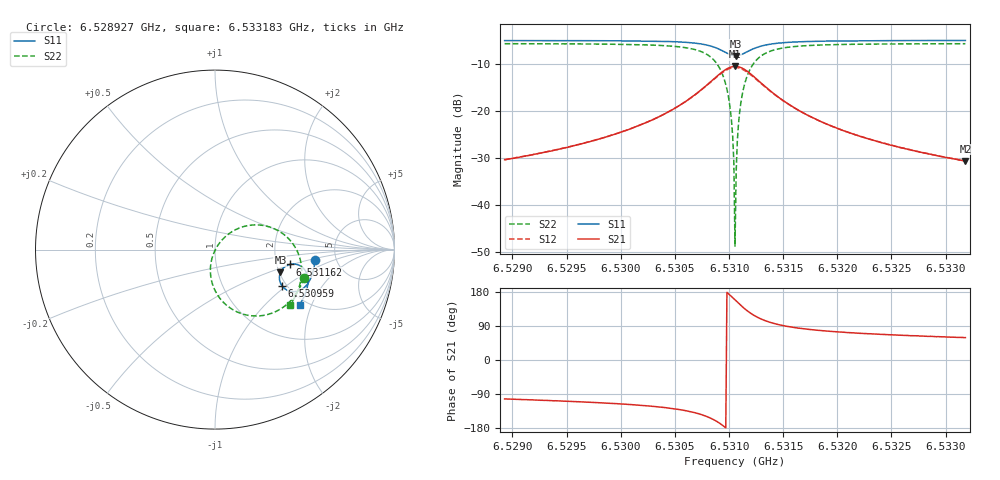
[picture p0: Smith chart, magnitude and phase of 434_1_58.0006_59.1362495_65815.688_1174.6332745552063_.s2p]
#  HZ  S  RI  R  50.00
! Rohde & Schwarz Vector Network Analyzer
! Rohde-Schwarz,ZNB20-2Port,1311601062101988,3.16
! Created: UTC 3/21/2024, 1:09:46 AM
! freq[Hz]  re:S11  im:S11  re:S21  im:S21  re:S12  im:S12  re:S22  im:S22
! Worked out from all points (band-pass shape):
!   401 points, 6.528927 GHz to 6.533183 GHz, reference 50 ohm
!   highest |S21| = -10.50 dB at 6.531055 GHz (marker M1); lowest = -30.6 dB at 6.533183 GHz (marker M2)
!   |S21| within 3 dB of the highest: 6.530844 GHz to 6.53127 GHz (426 kHz wide, 0.00652 % of centre)
!   lowest |S11| = -8.3 dB at 6.531066 GHz (marker M3), VSWR 2.26, Z = 101 - j30.3 ohm
!   |S11| at or under -10 dB: nowhere
!   |S22| runs from -48.7 to -5.7 dB; largest |S21 - S12| = 0.011
!   S11 on the Smith chart (normalised r, x): 6.528927 GHz: 3.46, -0.56; 6.530959 GHz: 1.89, -0.93; 6.531162 GHz: 2.36, -0.47; 6.533183 GHz: 1.82, -1.65
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6.5289272e9  0.5584 -0.0556  -0.00667 -0.0297  -0.00723 -0.0296  0.4956 -0.1582
6.5296401e9  0.5483 -0.1143  -0.0159 -0.0421  -0.0167 -0.0418  0.4658 -0.2241
6.530353e9  0.5204 -0.1839  -0.0485 -0.0723  -0.0504 -0.071  0.3868 -0.316
6.5307786e9  0.4513 -0.2333  -0.153 -0.098  -0.1555 -0.092  0.1854 -0.3663
6.530885e9  0.4077 -0.2286  -0.2207 -0.0728  -0.2203 -0.0637  0.0695 -0.3144
6.5309594e9  0.3737 -0.2023  -0.2711 -0.0164  -0.2658 -0.00679  -0.00745 -0.2112
6.5309914e9  0.3633 -0.1829  -0.2847 0.0213  -0.277 0.0295  -0.024 -0.1467
6.5310126e9  0.3596 -0.1677  -0.2883 0.0495  -0.2792 0.0565  -0.0254 -0.0992
6.5310233e9  0.3589 -0.1595  -0.2879 0.0642  -0.2784 0.0706  -0.0226 -0.0746
6.5310339e9  0.3589 -0.1513  -0.286 0.0791  -0.2764 0.0846  -0.0173 -0.0507
6.5310446e9  0.36 -0.1431  -0.2828 0.0939  -0.2728 0.0985  -0.00969 -0.0267
6.5310552e9  0.362 -0.1351  -0.2781 0.1084  -0.2679 0.1121  0.000351 -0.00364
6.5310658e9  0.3646 -0.1271  -0.272 0.1226  -0.2617 0.1251  0.0125 0.0185
6.5310765e9  0.3684 -0.1196  -0.2646 0.1357  -0.2544 0.1374  0.0267 0.039
6.5310871e9  0.3726 -0.1127  -0.2558 0.148  -0.2459 0.1489  0.0432 0.0579
6.5311084e9  0.3832 -0.1005  -0.2357 0.1696  -0.2264 0.1687  0.0796 0.0899
6.5311616e9  0.4156 -0.0827  -0.177 0.2014  -0.1707 0.1984  0.1816 0.1336
6.5312361e9  0.4573 -0.0831  -0.1034 0.2039  -0.1002 0.201  0.3061 0.1253
6.5313425e9  0.4936 -0.1052  -0.0398 0.174  -0.0383 0.1723  0.41 0.0609
6.5317681e9  0.5183 -0.1844  0.015 0.084  0.0161 0.0838  0.4829 -0.1279
6.5324809e9  0.4986 -0.2561  0.0173 0.0403  0.018 0.0401  0.4552 -0.2445
6.5331832e9  0.4713 -0.308  0.0151 0.0253  0.0157 0.0251  0.4205 -0.3059
